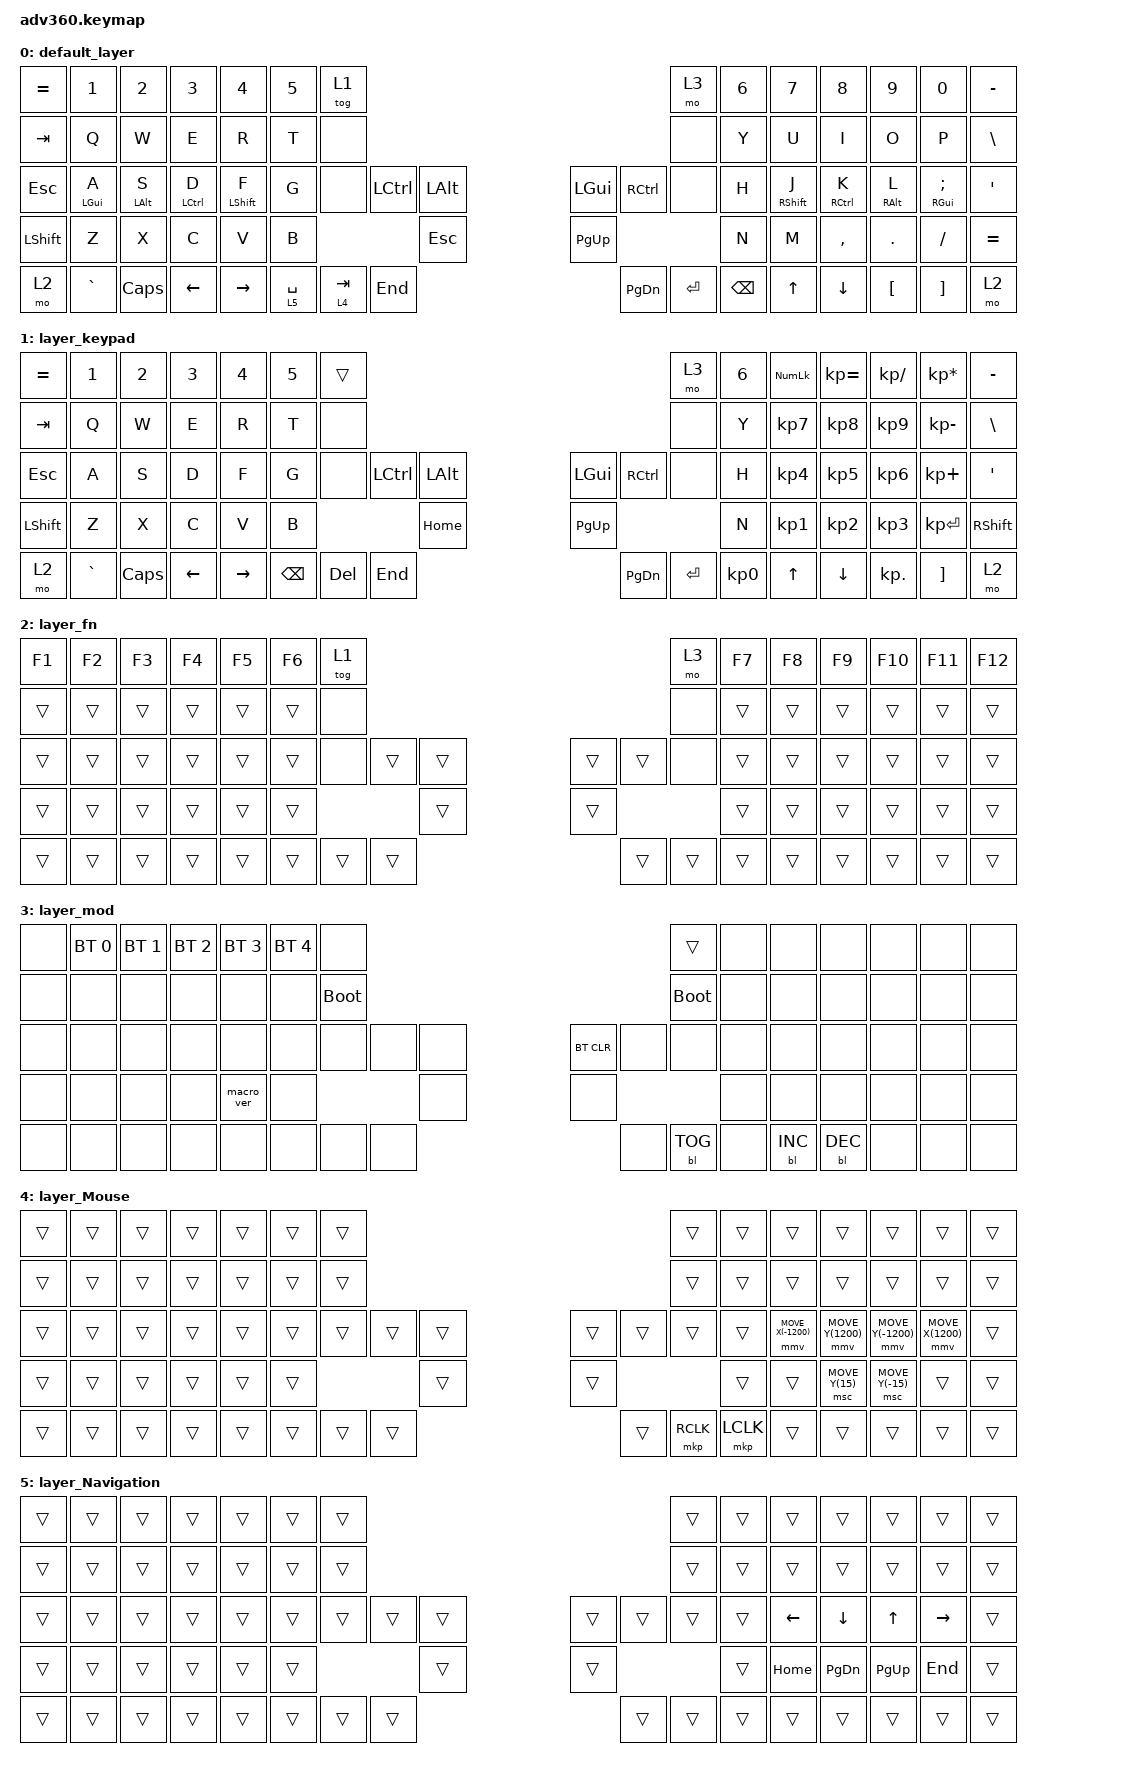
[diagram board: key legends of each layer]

/*
 * Copyright (c) 2020 The ZMK Contributors
 *
 * SPDX-License-Identifier: MIT
 */


/* THIS FILE WAS GENERATED!
 *
 * This file was generated automatically. You may or may not want to
 * edit it directly.
 */

#include <behaviors.dtsi>
#include <dt-bindings/zmk/keys.h>
#include <dt-bindings/zmk/bt.h>
#include <dt-bindings/zmk/backlight.h>
#include <dt-bindings/zmk/mouse.h>

/ {
  behaviors {
    #include "macros.dtsi"
    #include "version.dtsi"

    hm: homerow_mods {
        compatible = "zmk,behavior-hold-tap";
        label = "HOMEROW_MODS";
        #binding-cells = <2>;
        tapping-term-ms = <200>;
        quick_tap_ms = <175>;
        flavor = "tap-preferred";
        bindings = <&kp>, <&kp>;
    };
  };

    keymap {
        compatible = "zmk,keymap";


        default_layer {
            bindings = <
 &kp EQUAL      &kp N1      &kp N2       &kp N3       &kp N4  &kp N5                 &tog 1                                                                     &mo 3  &kp N6       &kp N7       &kp N8      &kp N9              &kp N0  &kp MINUS
   &kp TAB       &kp Q       &kp W        &kp E        &kp R   &kp T                  &none                                                                     &none   &kp Y        &kp U        &kp I       &kp O               &kp P   &kp BSLH
   &kp ESC  &hm LGUI A  &hm LALT S  &hm LCTRL D  &hm LSHFT F   &kp G                  &none  &kp LCTRL  &kp LALT                   &kp LGUI  &kp RCTRL          &none   &kp H  &hm RSHFT J  &hm RCTRL K  &hm RALT L  &hm RGUI SEMICOLON    &kp SQT
 &kp LSHFT       &kp Z       &kp X        &kp C        &kp V   &kp B                                     &kp ESC                  &kp PG_UP                             &kp N        &kp M    &kp COMMA     &kp DOT            &kp FSLH  &kp EQUAL
     &mo 2   &kp GRAVE    &kp CAPS     &kp LEFT    &kp RIGHT                    &lt 5 SPACE  &lt 4 TAB   &kp END                  &kp PG_DN  &kp ENTER  &kp BACKSPACE               &kp UP     &kp DOWN    &kp LBKT            &kp RBKT      &mo 2
            >;
        };

        layer_keypad {
            bindings = <
 &kp EQUAL     &kp N1    &kp N2    &kp N3     &kp N4  &kp N5              &trans                                                                 &mo 3  &kp N6  &kp KP_NUM  &kp KP_EQUAL  &kp KP_DIVIDE  &kp KP_MULTIPLY  &kp MINUS
   &kp TAB      &kp Q     &kp W     &kp E      &kp R   &kp T               &none                                                                 &none   &kp Y   &kp KP_N7     &kp KP_N8      &kp KP_N9     &kp KP_MINUS   &kp BSLH
   &kp ESC      &kp A     &kp S     &kp D      &kp F   &kp G               &none  &kp LCTRL  &kp LALT                   &kp LGUI  &kp RCTRL      &none   &kp H   &kp KP_N4     &kp KP_N5      &kp KP_N6      &kp KP_PLUS    &kp SQT
 &kp LSHFT      &kp Z     &kp X     &kp C      &kp V   &kp B                                 &kp HOME                  &kp PG_UP                         &kp N   &kp KP_N1     &kp KP_N2      &kp KP_N3     &kp KP_ENTER  &kp RSHFT
     &mo 2  &kp GRAVE  &kp CAPS  &kp LEFT  &kp RIGHT                    &kp BSPC    &kp DEL   &kp END                  &kp PG_DN  &kp ENTER  &kp KP_N0              &kp UP      &kp DOWN     &kp KP_DOT         &kp RBKT      &mo 2
            >;
        };

        layer_fn {
            bindings = <
 &kp F1  &kp F2  &kp F3  &kp F4  &kp F5  &kp F6            &tog 1                                                   &mo 3  &kp F7  &kp F8  &kp F9  &kp F10  &kp F11  &kp F12
 &trans  &trans  &trans  &trans  &trans  &trans             &none                                                   &none  &trans  &trans  &trans   &trans   &trans   &trans
 &trans  &trans  &trans  &trans  &trans  &trans             &none  &trans  &trans                  &trans  &trans   &none  &trans  &trans  &trans   &trans   &trans   &trans
 &trans  &trans  &trans  &trans  &trans  &trans                            &trans                  &trans                  &trans  &trans  &trans   &trans   &trans   &trans
 &trans  &trans  &trans  &trans  &trans                    &trans  &trans  &trans                  &trans  &trans  &trans          &trans  &trans   &trans   &trans   &trans
            >;
        };

        layer_mod {
            bindings = <
  &none  &bt BT_SEL 0  &bt BT_SEL 1  &bt BT_SEL 2  &bt BT_SEL 3  &bt BT_SEL 4                  &none                                                               &trans   &none       &none       &none   &none   &none   &none
  &none         &none         &none         &none         &none         &none            &bootloader                                                          &bootloader   &none       &none       &none   &none   &none   &none
  &none         &none         &none         &none         &none         &none                  &none   &none   &none                  &bt BT_CLR       &none        &none   &none       &none       &none   &none   &none   &none
  &none         &none         &none         &none    &macro_ver         &none                                  &none                       &none                            &none       &none       &none   &none   &none   &none
  &none         &none         &none         &none         &none                                &none   &none   &none                       &none  &bl BL_TOG        &none          &bl BL_INC  &bl BL_DEC   &none   &none   &none
            >;
        };

        layer_Mouse {
            bindings = <
 &trans  &trans  &trans  &trans  &trans  &trans            &trans                                                        &trans  &trans              &trans             &trans              &trans             &trans  &trans
 &trans  &trans  &trans  &trans  &trans  &trans            &trans                                                        &trans  &trans              &trans             &trans              &trans             &trans  &trans
 &trans  &trans  &trans  &trans  &trans  &trans            &trans  &trans  &trans                  &trans     &trans     &trans  &trans  &mmv MOVE_X(-1200)  &mmv MOVE_Y(1200)  &mmv MOVE_Y(-1200)  &mmv MOVE_X(1200)  &trans
 &trans  &trans  &trans  &trans  &trans  &trans                            &trans                  &trans                        &trans              &trans       &msc MOVE_Y(15)      &msc MOVE_Y(-15)             &trans  &trans
 &trans  &trans  &trans  &trans  &trans                    &trans  &trans  &trans                  &trans  &mkp RCLK  &mkp LCLK                      &trans             &trans              &trans             &trans  &trans
            >;
        };

        layer_Navigation {
            bindings = <
 &trans  &trans  &trans  &trans  &trans  &trans            &trans                                                  &trans  &trans          &trans          &trans        &trans           &trans  &trans
 &trans  &trans  &trans  &trans  &trans  &trans            &trans                                                  &trans  &trans          &trans          &trans        &trans           &trans  &trans
 &trans  &trans  &trans  &trans  &trans  &trans            &trans  &trans  &trans                  &trans  &trans  &trans  &trans  &kp LEFT_ARROW  &kp DOWN_ARROW  &kp UP_ARROW  &kp RIGHT_ARROW  &trans
 &trans  &trans  &trans  &trans  &trans  &trans                            &trans                  &trans                  &trans        &kp HOME   &kp PAGE_DOWN   &kp PAGE_UP          &kp END  &trans
 &trans  &trans  &trans  &trans  &trans                    &trans  &trans  &trans                  &trans  &trans  &trans                  &trans          &trans        &trans           &trans  &trans
            >;
        };

    };
};
